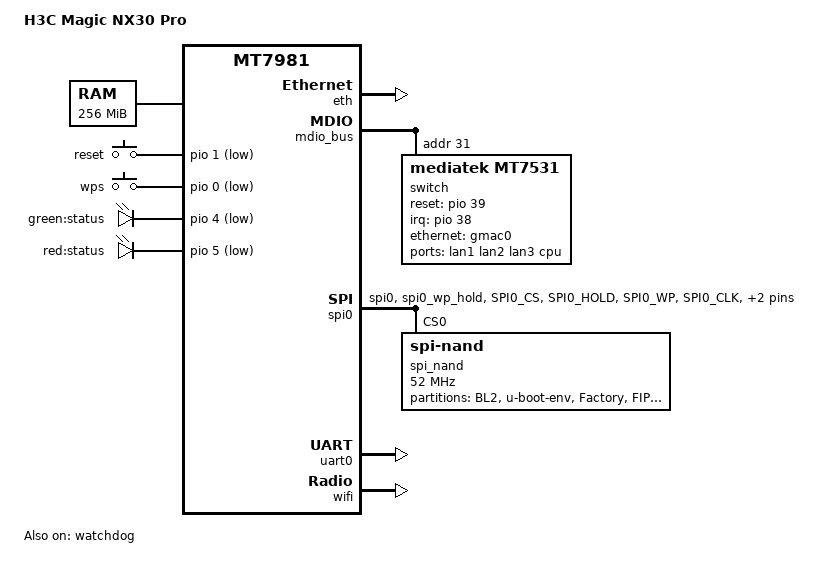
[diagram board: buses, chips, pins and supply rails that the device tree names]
// SPDX-License-Identifier: GPL-2.0-or-later OR MIT

/dts-v1/;
#include <dt-bindings/gpio/gpio.h>
#include <dt-bindings/input/input.h>

#include "mt7981.dtsi"

/ {
	model = "H3C Magic NX30 Pro";
	compatible = "h3c,magic-nx30-pro", "mediatek,mt7981";

	aliases {
		serial0 = &uart0;

		led-boot = &led_status_green;
		led-failsafe = &led_status_red;
		led-running = &led_status_green;
		led-upgrade = &led_status_red;
	};

	chosen {
		stdout-path = "serial0:115200n8";
	};

	memory {
		reg = <0 0x40000000 0 0x10000000>;
	};

	gpio-keys {
		compatible = "gpio-keys";

		reset {
			label = "reset";
			linux,code = <KEY_RESTART>;
			gpios = <&pio 1 GPIO_ACTIVE_LOW>;
		};

		wps {
			label = "wps";
			linux,code = <KEY_WPS_BUTTON>;
			gpios = <&pio 0 GPIO_ACTIVE_LOW>;
		};
	};

	leds {
		compatible = "gpio-leds";

		led_status_green: green {
			label = "green:status";
			gpios = <&pio 4 GPIO_ACTIVE_LOW>;
		};

		led_status_red: red {
			label = "red:status";
			gpios = <&pio 5 GPIO_ACTIVE_LOW>;
		};
	};
};

&eth {
	status = "okay";

	gmac0: mac@0 {
		compatible = "mediatek,eth-mac";
		reg = <0>;
		phy-mode = "2500base-x";

		fixed-link {
			speed = <2500>;
			full-duplex;
			pause;
		};
	};

	gmac1: mac@1 {
		compatible = "mediatek,eth-mac";
		reg = <1>;
		phy-mode = "gmii";
		phy-handle = <&int_gbe_phy>;
	};
};

&mdio_bus {
	switch: switch@0 {
		compatible = "mediatek,mt7531";
		reg = <31>;
		reset-gpios = <&pio 39 GPIO_ACTIVE_HIGH>;
		interrupt-controller;
		#interrupt-cells = <1>;
		interrupt-parent = <&pio>;
		interrupts = <38 IRQ_TYPE_LEVEL_HIGH>;
	};
};

&spi0 {
	pinctrl-names = "default";
	pinctrl-0 = <&spi0_flash_pins>;
	status = "okay";

	spi_nand@0 {
		compatible = "spi-nand";
		#address-cells = <1>;
		#size-cells = <1>;
		reg = <0>;

		spi-max-frequency = <52000000>;
		spi-tx-bus-width = <4>;
		spi-rx-bus-width = <4>;

		mediatek,nmbm;
		mediatek,bmt-max-ratio = <1>;
		mediatek,bmt-max-reserved-blocks = <64>;

		partitions {
			compatible = "fixed-partitions";
			#address-cells = <1>;
			#size-cells = <1>;

			partition@0 {
				label = "BL2";
				reg = <0x0000000 0x0100000>;
				read-only;
			};

			partition@100000 {
				label = "u-boot-env";
				reg = <0x0100000 0x0080000>;
			};

			factory: partition@180000 {
				label = "Factory";
				reg = <0x0180000 0x0200000>;
				read-only;
			};

			partition@380000 {
				label = "FIP";
				reg = <0x0380000 0x0200000>;
				read-only;
			};

			partition@580000 {
				label = "ubi";
				reg = <0x0580000 0x4000000>;
			};

			/* yaffs partition */
			partition@4580000 {
				label = "pdt_data";
				reg = <0x4580000 0x0600000>;
				read-only;
			};

			/* yaffs partition */
			partition@4b80000 {
				label = "pdt_data_1";
				reg = <0x4b80000 0x0600000>;
				read-only;
			};

			partition@5180000 {
				label = "exp";
				reg = <0x5180000 0x0100000>;
				read-only;
			};

			partition@5280000 {
				label = "plugin";
				reg = <0x5280000 0x2580000>;
				read-only;
			};
		};
	};
};

&switch {
	ports {
		#address-cells = <1>;
		#size-cells = <0>;

		port@0 {
			reg = <0>;
			label = "lan1";
		};

		port@1 {
			reg = <1>;
			label = "lan2";
		};

		port@2 {
			reg = <2>;
			label = "lan3";
		};

		port@6 {
			reg = <6>;
			label = "cpu";
			ethernet = <&gmac0>;
			phy-mode = "2500base-x";

			fixed-link {
				speed = <2500>;
				full-duplex;
				pause;
			};
		};
	};
};

&pio {
	spi0_flash_pins: spi0-pins {
		mux {
			function = "spi";
			groups = "spi0", "spi0_wp_hold";
		};

		conf-pu {
			pins = "SPI0_CS", "SPI0_HOLD", "SPI0_WP";
			drive-strength = <8>;
			mediatek,pull-up-adv = <0>; /* bias-disable */
		};

		conf-pd {
			pins = "SPI0_CLK", "SPI0_MOSI", "SPI0_MISO";
			drive-strength = <8>;
			mediatek,pull-up-adv = <0>; /* bias-disable */
		};
	};
};

&uart0 {
	status = "okay";
};

&watchdog {
	status = "okay";
};

&wifi {
	status = "okay";

	mediatek,mtd-eeprom = <&factory 0x0>;
};
